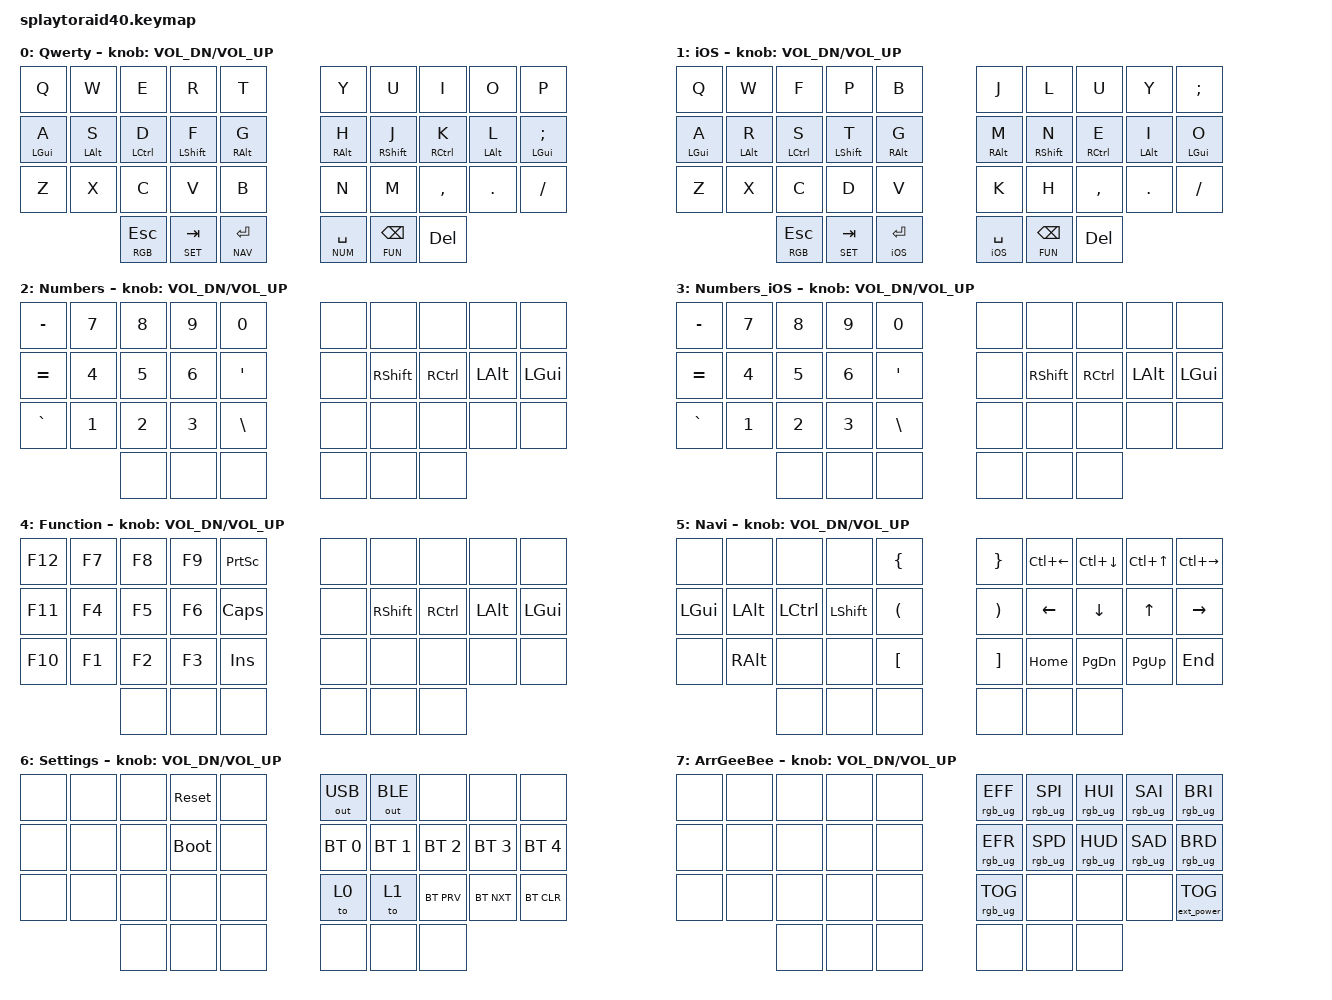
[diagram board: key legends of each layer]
/*
 * Copyright (c) 2021 The ZMK Contributors
 *
 * SPDX-License-Identifier: MIT
 */

#include <behaviors.dtsi>
#include <dt-bindings/zmk/bt.h>
#include <dt-bindings/zmk/ext_power.h>
#include <dt-bindings/zmk/keys.h>
#include <dt-bindings/zmk/outputs.h>
#include <dt-bindings/zmk/rgb.h>

#define QWR 0
#define iOS 1
#define NUM 2
#define iOS 3
#define FUN 4
#define NAV 5
#define SET 6
#define RGB 7

&lt {
	quick_tap_ms = <200>;
};

&caps_word {
	continue-list = <UNDERSCORE MINUS BSPC LSHFT RSHFT>;
};

//  _____________________________       _____________________________
// /  0  |  1  |  2  |  3  |  4  \     /   5 |   6 |   7 |   8 |  9  \
// | 10  | 11  | 12  | 13  | 14  | ___ |  15 |  16 |  17 |  18 | 19  |
// | 20  | 21  | 22  | 23  | 24  ||   ||  25 |  26 |  27 |  28 | 29  |
//             \ 31  | 32  | 33  /     \  34 |  34 |  35 /
//              -----------------       -----------------

/ {

	chosen {
        zmk,matrix_transform = &five_column_transform;
    };
	
	combos {
		compatible = "zmk,combos";
		combo_esc {
			timeout-ms = <20>;
			key-positions = <11 12>;
			bindings = <&kp ESC>;
			layers = <QWR iOS>;
		};
		combo_tab {
			timeout-ms = <20>;
			key-positions = <12 13>;
			bindings = <&kp TAB>;
			layers = <QWR iOS>;
		};
		combo_del {
			timeout-ms = <20>;
			key-positions = <15 16>;
			bindings = <&kp DEL>;
			layers = <QWR iOS>;
		};
		combo_bspc {
			timeout-ms = <20>;
			key-positions = <16 17>;
			bindings = <&kp BSPC>;
			layers = <QWR iOS>;
		};
		combo_enter {
			timeout-ms = <20>;
			key-positions = <17 18>;
			bindings = <&kp RET>;
			layers = <QWR iOS>;
		};
		combo_ae {
			timeout-ms = <20>;
			key-positions = <0 10>;
			bindings = <&kp RA(Q)>;
			layers = <QWR iOS>;
		};
		combo_oe {
			timeout-ms = <20>;
			key-positions = <8 18>;
			bindings = <&kp RA(P)>;
			layers = <QWR iOS>;
		};
		combo_ue {
			timeout-ms = <20>;
			key-positions = <6 16>;
			bindings = <&kp RA(Y)>;
			layers = <QWR iOS>;
		};
		combo_ss {
			timeout-ms = <20>;
			key-positions = <1 11>;
			bindings = <&kp RA(S)>;
			layers = <QWR iOS>;
		};
		combo_caps-word {
			timeout-ms = <20>;
			key-positions = <13 16>;
			bindings = <&caps_word>;
			layers = <QWR iOS>;
		};
	};

	behaviors {
		hl: homerow_mods_left {
			compatible = "zmk,behavior-hold-tap";
			label = "homerow mods left";
			#binding-cells = <2>;
			flavor = "tap-preferred";
			tapping-term-ms = <200>;
			quick-tap-ms = <100>;
			bindings = <&kp>, <&kp>;
			// opposite side hand keys
			hold-trigger-key-positions = <5 6 7 8 9 15 16 17 18 19 25 26 27 28 29>;
		};

		hr: homerow_mods_right {
			compatible = "zmk,behavior-hold-tap";
			label = "homerow mods right";
			#binding-cells = <2>;
			flavor = "tap-preferred";
			tapping-term-ms = <200>;
			quick-tap-ms = <100>;
			bindings = <&kp>, <&kp>;
			// opposite side hand keys
			hold-trigger-key-positions = <0 1 2 3 4 10 11 12 13 14 20 21 22 23 24>;
		};

		hs: homerow_mods_shift {
			compatible = "zmk,behavior-hold-tap";
			label = "homerow mods shift";
			#binding-cells = <2>;
			flavor = "balanced";
			tapping-term-ms = <200>;
			quick-tap-ms = <100>;
			bindings = <&kp>, <&kp>;
		};
	};
	
	keymap {
		compatible = "zmk,keymap";

		default_layer {
			label = "Qwerty";
			bindings = <
			&kp Q		&kp W		&kp E		&kp R		&kp T				&kp Y			&kp U			&kp I		&kp O		&kp P
			&hl LGUI A	&hl LALT S	&hl LCTRL D	&hs LSHFT F	&hl RALT G			&hr RALT H		&hs RSHFT J		&hr RCTRL K	&hr LALT L	&hr LGUI SEMI
			&kp Z		&kp X		&kp C		&kp V		&kp B				&kp N			&kp M			&kp COMMA	&kp DOT		&kp FSLH
									&lt RGB ESC	&lt SET TAB	&lt NAV RET			&lt NUM SPACE	&lt FUN BSPC	&kp DEL
			>;
			sensor-bindings = <&inc_dec_kp C_VOL_DN C_VOL_UP>;
		};

		iOS_layer {
			label = "iOS";
			bindings = <
			&kp Q		&kp W		&kp F		&kp P		&kp B				&kp J			&kp L			&kp U		&kp Y		&kp SEMI
			&hl LGUI A	&hl LALT R	&hl LCTRL S	&hs LSHFT T	&hl RALT G			&hr RALT M		&hs RSHFT N		&hr RCTRL E	&hr LALT I	&hr LGUI O
			&kp Z		&kp X		&kp C		&kp D		&kp V				&kp K			&kp H			&kp COMMA	&kp DOT		&kp FSLH
									&lt RGB ESC	&lt SET TAB	&lt iOS RET			&lt iOS SPACE	&lt FUN BSPC	&kp DEL
			>;
			sensor-bindings = <&inc_dec_kp C_VOL_DN C_VOL_UP>;
		
		};

		numbers_layer {
			label = "Numbers";
			bindings = <
			&kp MINUS	&kp N7		&kp N8		&kp N9		&kp N0				&none		&none		&none		&none		&none
			&kp EQUAL	&kp N4		&kp N5		&kp N6		&kp SQT				&none		&kp RSHFT	&kp RCTRL	&kp LALT	&kp LGUI
			&kp GRAVE	&kp N1		&kp N2		&kp N3		&kp BSLH			&none		&none		&none		&none		&none
									&none		&none		&none				&none		&none		&none
			>;
			sensor-bindings = <&inc_dec_kp C_VOL_DN C_VOL_UP>;
		};

		numbers_layer_iOS {
			label = "Numbers_iOS";
			bindings = <
			&kp MINUS	&kp N7		&kp N8		&kp N9		&kp N0				&none		&none		&none		&none		&none
			&kp EQUAL	&kp N4		&kp N5		&kp N6		&kp SQT				&none		&kp RSHFT	&kp RCTRL	&kp LALT	&kp LGUI
			&kp GRAVE	&kp N1		&kp N2		&kp N3		&kp BSLH			&none		&none		&none		&none		&none
									&none		&none		&none				&none		&none		&none
			>;
			sensor-bindings = <&inc_dec_kp C_VOL_DN C_VOL_UP>;
		};
		
		functions_layer {
			label = "Function";
			bindings = <
			&kp F12		&kp F7		&kp F8		&kp F9		&kp PSCRN			&none		&none		&none		&none		&none
			&kp F11		&kp F4		&kp F5		&kp F6		&kp CAPS			&none		&kp RSHFT	&kp RCTRL	&kp LALT	&kp LGUI
			&kp F10		&kp F1		&kp F2		&kp F3		&kp INS				&none		&none		&none		&none		&none
									&none		&none		&none				&none		&none		&none
			>;
			sensor-bindings = <&inc_dec_kp C_VOL_DN C_VOL_UP>;
		};

		navigation_layer {
			label = "Navi";
			bindings = <
			&none		&none		&none		&none		&kp	LBRC			&kp	RBRC	&kp LC(LEFT)	&kp LC(DOWN)	&kp LC(UP)	&kp LC(RIGHT)
			&kp LGUI	&kp LALT	&kp LCTRL	&kp LSHFT	&kp LPAR			&kp RPAR	&kp LEFT		&kp DOWN		&kp UP		&kp RIGHT
			&none		&kp RALT	&none		&none		&kp LBKT			&kp RBKT	&kp HOME		&kp PG_DN		&kp PG_UP	&kp END
									&none		&none		&none				&none		&none			&none
			>;
			sensor-bindings = <&inc_dec_kp C_VOL_DN C_VOL_UP>;
		};

		settings_layer {
			label = "Settings";
			bindings = <
			&none		&none		&none		&sys_reset		&none				&out OUT_USB	&out OUT_BLE	&none			&none			&none
			&none		&none		&none		&bootloader	&none				&bt BT_SEL 0	&bt BT_SEL 1	&bt BT_SEL 2	&bt BT_SEL 3	&bt BT_SEL 4
			&none		&none		&none		&none		&none				&to 0			&to 1			&bt BT_PRV		&bt BT_NXT		&bt BT_CLR
									&none		&none		&none				&none			&none			&none
			>;
			sensor-bindings = <&inc_dec_kp C_VOL_DN C_VOL_UP>;
		};

		rgb_layer {
			label = "ArrGeeBee";
			bindings = <
			&none		&none		&none		&none		&none				&rgb_ug RGB_EFF	&rgb_ug RGB_SPI	&rgb_ug RGB_HUI	&rgb_ug RGB_SAI	&rgb_ug RGB_BRI
			&none		&none		&none		&none		&none				&rgb_ug RGB_EFR	&rgb_ug RGB_SPD	&rgb_ug RGB_HUD	&rgb_ug RGB_SAD	&rgb_ug RGB_BRD
			&none		&none		&none		&none		&none				&rgb_ug RGB_TOG	&none			&none			&none			&ext_power EP_TOG
									&none		&none		&none				&none			&none			&none
			>;
			sensor-bindings = <&inc_dec_kp C_VOL_DN C_VOL_UP>;
		};
	};
};
